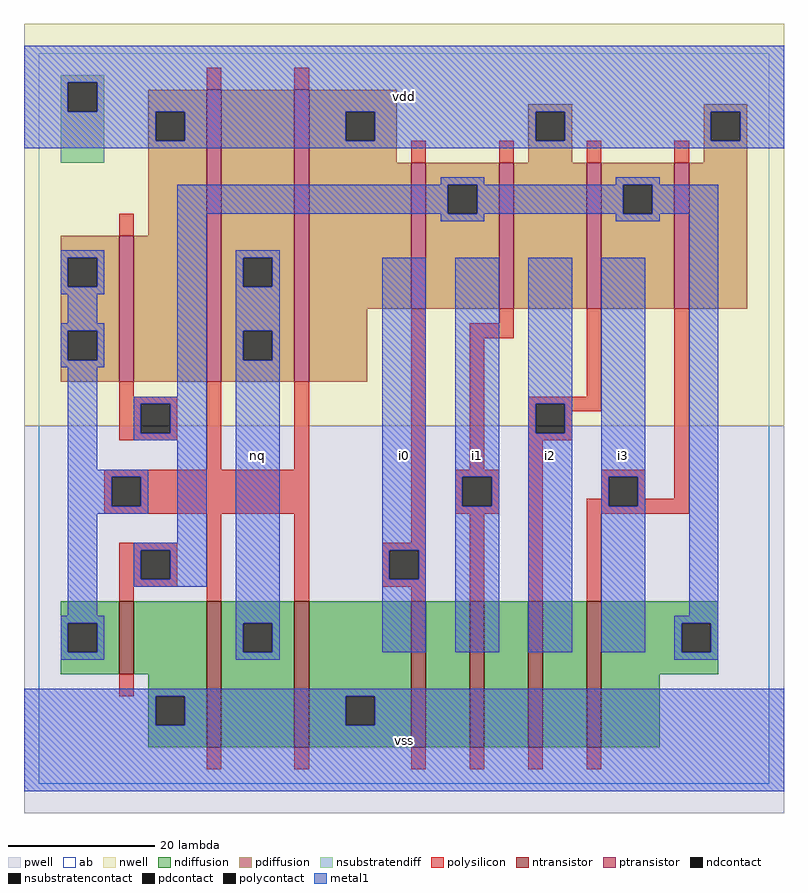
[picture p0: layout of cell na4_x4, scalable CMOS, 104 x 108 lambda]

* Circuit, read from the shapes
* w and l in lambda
.subckt na4_x4 i0 i1 i2 i3 nq vdd vss
M1 vss n1 n2 VSUBS nfet w=10 l=2
M2 nq n2 vss VSUBS nfet w=20 l=2 m=2
M3 n3 i0 vss VSUBS nfet w=20 l=2
M4 n4 i1 n3 VSUBS nfet w=20 l=2
M5 n5 i2 n4 VSUBS nfet w=20 l=2
M6 n1 i3 n5 VSUBS nfet w=20 l=2
M7 vdd n1 n2 vdd pfet w=20 l=2
M8 nq n2 vdd vdd pfet w=40 l=2 m=2
M9 n1 i0 vdd vdd pfet w=20 l=2
M10 vdd i1 n1 vdd pfet w=20 l=2
M11 n1 i2 vdd vdd pfet w=20 l=2
M12 vdd i3 n1 vdd pfet w=20 l=2
.ends

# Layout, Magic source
magic
tech scmos
<< ab >>
rect 0 0 100 100
<< pwell >>
rect -2 -4 102 49
<< nwell >>
rect -2 49 102 104
<< polysilicon >>
rect 23 95 25 98
rect 35 95 37 98
rect 11 75 13 78
rect 51 85 53 88
rect 63 85 65 88
rect 75 85 77 88
rect 87 85 89 88
rect 11 53 13 55
rect 11 52 19 53
rect 11 48 14 52
rect 18 48 19 52
rect 11 47 19 48
rect 23 43 25 55
rect 35 43 37 55
rect 9 42 37 43
rect 9 38 10 42
rect 14 38 37 42
rect 9 37 37 38
rect 11 32 19 33
rect 11 28 14 32
rect 18 28 19 32
rect 11 27 19 28
rect 11 25 13 27
rect 23 25 25 37
rect 35 25 37 37
rect 51 33 53 65
rect 63 63 65 65
rect 59 61 65 63
rect 59 43 61 61
rect 75 53 77 65
rect 67 52 77 53
rect 67 48 68 52
rect 72 51 77 52
rect 72 48 73 51
rect 67 47 73 48
rect 57 42 63 43
rect 57 38 58 42
rect 62 38 63 42
rect 57 37 63 38
rect 47 32 53 33
rect 47 28 48 32
rect 52 28 53 32
rect 47 27 53 28
rect 51 25 53 27
rect 59 25 61 37
rect 67 25 69 47
rect 77 42 83 43
rect 77 39 78 42
rect 75 38 78 39
rect 82 39 83 42
rect 87 39 89 65
rect 82 38 89 39
rect 75 37 89 38
rect 75 25 77 37
rect 11 12 13 15
rect 23 2 25 5
rect 35 2 37 5
rect 51 2 53 5
rect 59 2 61 5
rect 67 2 69 5
rect 75 2 77 5
<< ndiffusion >>
rect 3 22 11 25
rect 3 18 4 22
rect 8 18 11 22
rect 3 15 11 18
rect 13 15 23 25
rect 15 12 23 15
rect 15 8 16 12
rect 20 8 23 12
rect 15 5 23 8
rect 25 22 35 25
rect 25 18 28 22
rect 32 18 35 22
rect 25 5 35 18
rect 37 12 51 25
rect 37 8 42 12
rect 46 8 51 12
rect 37 5 51 8
rect 53 5 59 25
rect 61 5 67 25
rect 69 5 75 25
rect 77 22 93 25
rect 77 18 88 22
rect 92 18 93 22
rect 77 15 93 18
rect 77 5 85 15
<< pdiffusion >>
rect 15 92 23 95
rect 15 88 16 92
rect 20 88 23 92
rect 15 75 23 88
rect 3 72 11 75
rect 3 68 4 72
rect 8 68 11 72
rect 3 62 11 68
rect 3 58 4 62
rect 8 58 11 62
rect 3 55 11 58
rect 13 55 23 75
rect 25 72 35 95
rect 25 68 28 72
rect 32 68 35 72
rect 25 62 35 68
rect 25 58 28 62
rect 32 58 35 62
rect 25 55 35 58
rect 37 92 49 95
rect 37 88 42 92
rect 46 88 49 92
rect 67 92 73 93
rect 67 88 68 92
rect 72 88 73 92
rect 91 92 97 93
rect 91 88 92 92
rect 96 88 97 92
rect 37 85 49 88
rect 67 85 73 88
rect 91 85 97 88
rect 37 65 51 85
rect 53 82 63 85
rect 53 78 56 82
rect 60 78 63 82
rect 53 65 63 78
rect 65 65 75 85
rect 77 82 87 85
rect 77 78 80 82
rect 84 78 87 82
rect 77 65 87 78
rect 89 65 97 85
rect 37 55 45 65
<< metal1 >>
rect -2 96 102 101
rect -2 92 4 96
rect 8 92 102 96
rect -2 88 16 92
rect 20 88 42 92
rect 46 88 68 92
rect 72 88 92 92
rect 96 88 102 92
rect -2 87 102 88
rect 55 82 61 83
rect 79 82 85 83
rect 19 78 56 82
rect 60 78 80 82
rect 84 78 93 82
rect 3 72 9 73
rect 3 68 4 72
rect 8 68 9 72
rect 3 67 9 68
rect 4 63 8 67
rect 3 62 9 63
rect 3 58 4 62
rect 8 58 9 62
rect 3 57 9 58
rect 4 43 8 57
rect 19 53 23 78
rect 55 77 61 78
rect 79 77 85 78
rect 13 52 23 53
rect 13 48 14 52
rect 18 48 23 52
rect 13 47 23 48
rect 4 42 15 43
rect 4 38 10 42
rect 14 38 15 42
rect 4 37 15 38
rect 4 23 8 37
rect 19 33 23 47
rect 13 32 23 33
rect 13 28 14 32
rect 18 28 23 32
rect 13 27 23 28
rect 27 72 33 73
rect 27 68 28 72
rect 32 68 33 72
rect 27 62 33 68
rect 27 58 28 62
rect 32 58 33 62
rect 3 22 9 23
rect 3 18 4 22
rect 8 18 9 22
rect 3 17 9 18
rect 27 22 33 58
rect 27 18 28 22
rect 32 18 33 22
rect 47 32 53 72
rect 47 28 48 32
rect 52 28 53 32
rect 47 18 53 28
rect 57 42 63 72
rect 57 38 58 42
rect 62 38 63 42
rect 57 18 63 38
rect 67 52 73 72
rect 67 48 68 52
rect 72 48 73 52
rect 67 18 73 48
rect 77 42 83 72
rect 77 38 78 42
rect 82 38 83 42
rect 77 18 83 38
rect 89 23 93 78
rect 87 22 93 23
rect 87 18 88 22
rect 92 18 93 22
rect 27 17 33 18
rect 87 17 93 18
rect -2 12 102 13
rect -2 8 16 12
rect 20 8 42 12
rect 46 8 102 12
rect -2 -1 102 8
<< ntransistor >>
rect 11 15 13 25
rect 23 5 25 25
rect 35 5 37 25
rect 51 5 53 25
rect 59 5 61 25
rect 67 5 69 25
rect 75 5 77 25
<< ptransistor >>
rect 11 55 13 75
rect 23 55 25 95
rect 35 55 37 95
rect 51 65 53 85
rect 63 65 65 85
rect 75 65 77 85
rect 87 65 89 85
<< polycontact >>
rect 14 48 18 52
rect 10 38 14 42
rect 14 28 18 32
rect 68 48 72 52
rect 58 38 62 42
rect 48 28 52 32
rect 78 38 82 42
<< ndcontact >>
rect 4 18 8 22
rect 16 8 20 12
rect 28 18 32 22
rect 42 8 46 12
rect 88 18 92 22
<< pdcontact >>
rect 16 88 20 92
rect 4 68 8 72
rect 4 58 8 62
rect 28 68 32 72
rect 28 58 32 62
rect 42 88 46 92
rect 68 88 72 92
rect 92 88 96 92
rect 56 78 60 82
rect 80 78 84 82
<< nsubstratencontact >>
rect 4 92 8 96
<< nsubstratendiff >>
rect 3 96 9 97
rect 3 92 4 96
rect 8 92 9 96
rect 3 85 9 92
<< labels >>
rlabel metal1 30 45 30 45 6 nq
rlabel metal1 30 45 30 45 6 nq
rlabel metal1 50 6 50 6 6 vss
rlabel metal1 50 6 50 6 6 vss
rlabel metal1 50 45 50 45 6 i0
rlabel metal1 50 45 50 45 6 i0
rlabel metal1 70 45 70 45 6 i2
rlabel metal1 60 45 60 45 6 i1
rlabel metal1 70 45 70 45 6 i2
rlabel metal1 60 45 60 45 6 i1
rlabel metal1 50 94 50 94 6 vdd
rlabel metal1 50 94 50 94 6 vdd
rlabel metal1 80 45 80 45 6 i3
rlabel metal1 80 45 80 45 6 i3
<< end >>
